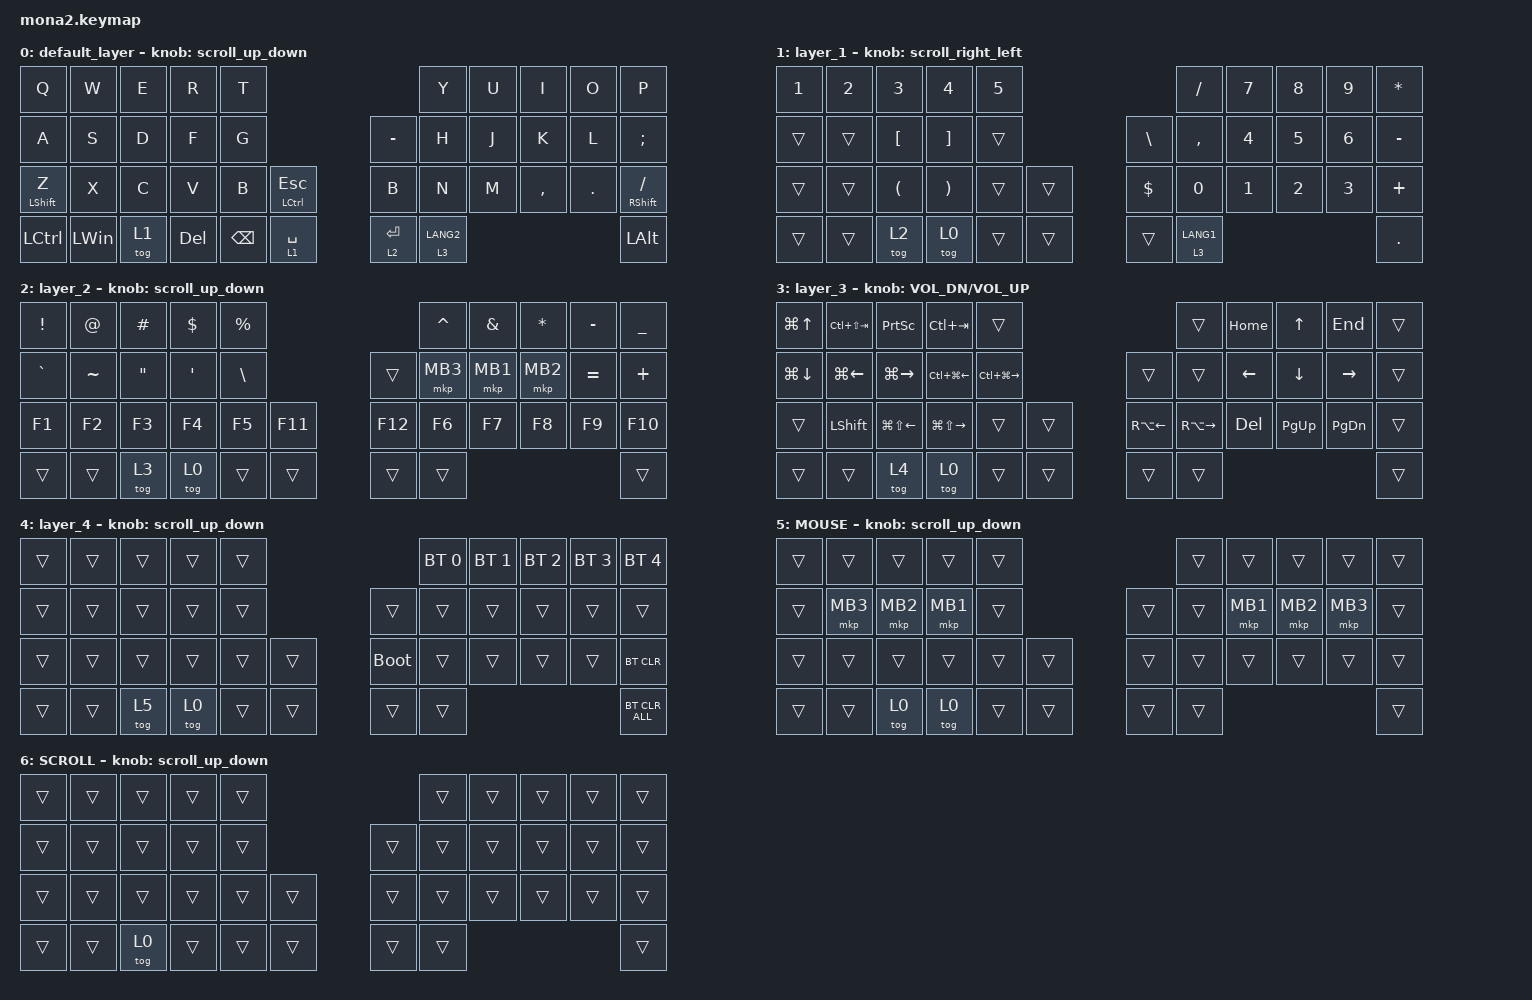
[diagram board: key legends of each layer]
#include <input/processors.dtsi>
#include <dt-bindings/zmk/input_transform.h>
#include <zephyr/dt-bindings/input/input-event-codes.h>
#include <behaviors.dtsi>
#include <dt-bindings/zmk/bt.h>
#include <dt-bindings/zmk/keys.h>
#include <dt-bindings/zmk/pointing.h>

#define ZMK_POINTING_DEFAULT_SCRL_VAL 100
#define MOUSE 5
#define SCROLL 6

&mt {
    flavor = "balanced";
    quick-tap-ms = <0>;
};

&lt {
    quick-tap-ms = <300>;
    flavor = "balanced";
};

/ {
    combos {
        compatible = "zmk,combos";

        layer4_ESC {
            bindings = <&lt 4 ESC>;
            key-positions = <39 38>;
        };

        tab {
            bindings = <&kp TAB>;
            key-positions = <11 12>;
        };
    };

    macros {
        to_layer_0: to_layer_0 {
            compatible = "zmk,behavior-macro-one-param";
            #binding-cells = <1>;
            bindings = <&to 0 &macro_param_1to1 &kp MACRO_PLACEHOLDER>;
            label = "TO_LAYER_0";
        };
    };

    behaviors {
        lt_to_layer_0: lt_to_layer_0 {
            compatible = "zmk,behavior-hold-tap";
            label = "LAYER_TAP_TO_0";
            bindings = <&mo>, <&to_layer_0>;

            #binding-cells = <2>;
            tapping-term-ms = <200>;
        };

        scroll_up_down: mouse_wheel_up_down {
            compatible = "zmk,behavior-sensor-rotate";
            #sensor-binding-cells = <0>;
            bindings = <&msc SCRL_DOWN>, <&msc SCRL_UP>;

            tap-ms = <20>;
        };

        scroll_right_left: mouse_wheel_right_left {
            compatible = "zmk,behavior-sensor-rotate";
            #sensor-binding-cells = <0>;
            bindings = <&msc SCRL_LEFT>, <&msc SCRL_RIGHT>;

            tap-ms = <20>;
        };
    };

    keymap {
        compatible = "zmk,keymap";

        default_layer {
            bindings = <
&kp Q             &kp W         &kp E   &kp R       &kp T                                                            &kp Y        &kp U  &kp I      &kp O    &kp P
&kp A             &kp S         &kp D   &kp F       &kp G                                    &kp MINUS               &kp H        &kp J  &kp K      &kp L    &kp SEMI
&mt LEFT_SHIFT Z  &kp X         &kp C   &kp V       &kp B          &mt LCTRL ESC             &kp B                   &kp N        &kp M  &kp COMMA  &kp DOT  &mt RIGHT_SHIFT SLASH
&kp LCTRL         &kp LEFT_WIN  &tog 1  &kp DELETE  &kp BACKSPACE  &lt_to_layer_0 1 SPACE    &lt_to_layer_0 2 ENTER  &lt 3 LANG2                             &kp LEFT_ALT
            >;

            sensor-bindings = <&scroll_up_down>;
        };

        layer_1 {
            bindings = <
&kp NUMBER_1  &kp NUMBER_2  &kp NUMBER_3          &kp NUMBER_4           &kp NUMBER_5                           &kp SLASH               &kp NUMBER_7  &kp NUMBER_8  &kp NUMBER_9  &kp ASTERISK
&trans        &trans        &kp LEFT_BRACKET      &kp RIGHT_BRACKET      &trans                  &kp BACKSLASH  &kp COMMA               &kp NUMBER_4  &kp NUMBER_5  &kp NUMBER_6  &kp MINUS
&trans        &trans        &kp LEFT_PARENTHESIS  &kp RIGHT_PARENTHESIS  &trans        &trans    &kp DOLLAR     &kp NUMBER_0            &kp NUMBER_1  &kp NUMBER_2  &kp NUMBER_3  &kp PLUS
&trans        &trans        &tog 2                &tog 0                 &trans        &trans    &trans         &lt_to_layer_0 3 LANG1                                            &kp DOT
            >;

            sensor-bindings = <&scroll_right_left>;
        };

        layer_2 {
            bindings = <
&kp EXCLAMATION  &kp AT_SIGN  &kp POUND          &kp DOLLAR  &kp PERCENT                        &kp CARET  &kp AMPERSAND  &kp ASTERISK  &kp MINUS  &kp UNDERSCORE
&kp GRAVE        &kp TILDE    &kp DOUBLE_QUOTES  &kp SQT     &kp BACKSLASH             &trans   &mkp MB3   &mkp MB1       &mkp MB2      &kp EQUAL  &kp PLUS
&kp F1           &kp F2       &kp F3             &kp F4      &kp F5         &kp F11    &kp F12  &kp F6     &kp F7         &kp F8        &kp F9     &kp F10
&trans           &trans       &tog 3             &tog 0      &trans         &trans     &trans   &trans                                             &trans
            >;

            sensor-bindings = <&scroll_up_down>;
        };

        layer_3 {
            bindings = <
&kp LG(UP_ARROW)    &kp LC(LS(TAB))     &kp PRINTSCREEN         &kp LC(TAB)              &trans                                                 &trans               &kp HOME        &kp UP_ARROW    &kp END          &trans
&kp LG(DOWN_ARROW)  &kp LG(LEFT_ARROW)  &kp LG(RIGHT_ARROW)     &kp LC(LG(LEFT_ARROW))   &kp LC(LG(RIGHT_ARROW))            &trans              &trans               &kp LEFT_ARROW  &kp DOWN_ARROW  &kp RIGHT_ARROW  &trans
&trans              &kp LEFT_SHIFT      &kp LG(LS(LEFT_ARROW))  &kp LG(LS(RIGHT_ARROW))  &trans                   &trans    &kp RA(LEFT_ARROW)  &kp RA(RIGHT_ARROW)  &kp DELETE      &kp PAGE_UP     &kp PAGE_DOWN    &trans
&trans              &trans              &tog 4                  &tog 0                   &trans                   &trans    &trans              &trans                                                                &trans
            >;

            sensor-bindings = <&inc_dec_kp C_VOL_DN C_VOL_UP>;
        };

        layer_4 {
            bindings = <
&trans  &trans  &trans  &trans  &trans                         &bt BT_SEL 0  &bt BT_SEL 1  &bt BT_SEL 2  &bt BT_SEL 3  &bt BT_SEL 4
&trans  &trans  &trans  &trans  &trans            &trans       &trans        &trans        &trans        &trans        &trans
&trans  &trans  &trans  &trans  &trans  &trans    &bootloader  &trans        &trans        &trans        &trans        &bt BT_CLR
&trans  &trans  &tog 5  &tog 0  &trans  &trans    &trans       &trans                                                  &bt BT_CLR_ALL
            >;

            sensor-bindings = <&scroll_up_down>;
        };

        MOUSE {
            bindings = <
&trans  &trans    &trans    &trans    &trans                    &trans  &trans    &trans    &trans    &trans
&trans  &mkp MB3  &mkp MB2  &mkp MB1  &trans            &trans  &trans  &mkp MB1  &mkp MB2  &mkp MB3  &trans
&trans  &trans    &trans    &trans    &trans  &trans    &trans  &trans  &trans    &trans    &trans    &trans
&trans  &trans    &tog 0    &tog 0    &trans  &trans    &trans  &trans                                &trans
            >;

            sensor-bindings = <&scroll_up_down>;
        };

        SCROLL {
            bindings = <
&trans  &trans  &trans  &trans  &trans                    &trans  &trans  &trans  &trans  &trans
&trans  &trans  &trans  &trans  &trans            &trans  &trans  &trans  &trans  &trans  &trans
&trans  &trans  &trans  &trans  &trans  &trans    &trans  &trans  &trans  &trans  &trans  &trans
&trans  &trans  &tog 0  &trans  &trans  &trans    &trans  &trans                          &trans
            >;

            sensor-bindings = <&scroll_up_down>;
        };
    };
};
